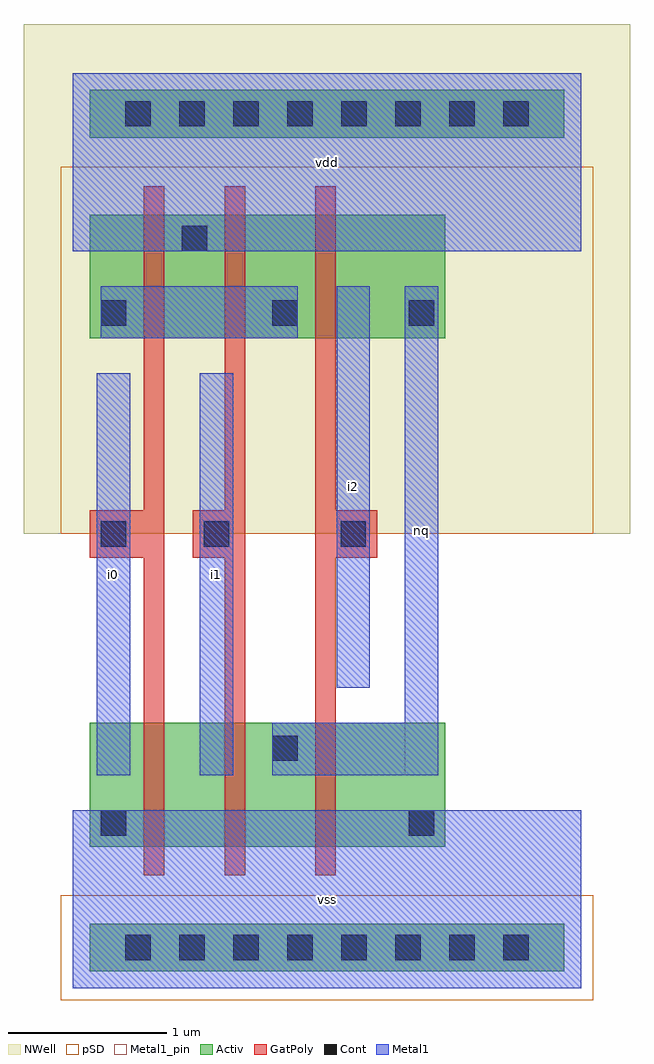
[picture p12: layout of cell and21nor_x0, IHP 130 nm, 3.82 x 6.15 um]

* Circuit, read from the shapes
.subckt and21nor_x0 i0 i1 i2 nq vdd vss
XM1 n1 i0 vss vss sg13_lv_nmos w=0.78u l=0.13u
XM2 nq i1 n1 vss sg13_lv_nmos w=0.78u l=0.13u
XM3 vss i2 nq vss sg13_lv_nmos w=0.78u l=0.13u
XM4 vdd i0 n2 vdd sg13_lv_pmos w=0.78u l=0.13u
XM5 n2 i1 vdd vdd sg13_lv_pmos w=0.78u l=0.13u
XM6 nq i2 n2 vdd sg13_lv_pmos w=0.78u l=0.13u
.ends

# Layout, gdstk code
import gdstk
lib = gdstk.Library(unit=1e-6, precision=1e-09)
def R(c, l, rs):  # rectangles x0, y0, x1, y1
    for r in rs: c.add(gdstk.rectangle(r[:2], r[2:], *l))
def P(c, l, *ps):  # polygons
    for p in ps: c.add(gdstk.Polygon(p, *l))
Activ = (1, 0)
GatPoly = (5, 0)
Cont = (6, 0)
Metal1 = (8, 0)
Metal1_pin = (8, 2)
pSD = (14, 0)
NWell = (31, 0)

and21nor_x0 = lib.new_cell('and21nor_x0')
P(and21nor_x0, Activ, [(0.215,4.09),(0.215,4.87),(0.445,4.87),(0.445,4.09),(0.215,4.09)],
  [(0.105,4.09),(0.105,4.87),(0.405,4.87),(0.405,4.09),(0.105,4.09)],
  [(1.185,4.09),(1.185,4.87),(1.485,4.87),(1.485,4.09),(1.185,4.09)],
  [(1.295,4.09),(1.295,4.87),(1.525,4.87),(1.525,4.09),(1.295,4.09)],
  [(1.155,4.09),(1.155,4.87),(1.455,4.87),(1.455,4.09),(1.155,4.09)],
  [(0.105,4.09),(0.105,4.87),(0.375,4.87),(0.375,4.09),(0.105,4.09)],
  [(0.105,4.1),(0.105,4.4),(0.405,4.4),(0.405,4.1),(0.105,4.1)],
  [(1.185,4.1),(1.185,4.4),(1.485,4.4),(1.485,4.1),(1.185,4.1)],
  [(1.085,4.09),(1.085,4.87),(1.315,4.87),(1.315,4.09),(1.085,4.09)],
  [(0.575,0.89),(0.575,1.67),(0.805,1.67),(0.805,0.89),(0.575,0.89)],
  [(0.725,0.89),(0.725,1.67),(0.955,1.67),(0.955,0.89),(0.725,0.89)],
  [(0.58,0.89),(0.58,1.67),(0.95,1.67),(0.95,0.89),(0.58,0.89)],
  [(0.645,0.89),(0.645,1.67),(0.885,1.67),(0.885,0.89),(0.645,0.89)],
  [(0.105,0.89),(0.105,1.19),(0.405,1.19),(0.405,0.89),(0.105,0.89)],
  [(0.105,0.105),(0.105,0.405),(3.095,0.405),(3.095,0.105),(0.105,0.105)],
  [(0.105,0.89),(0.105,1.67),(0.405,1.67),(0.405,0.89),(0.105,0.89)],
  [(2.045,0.89),(2.045,1.67),(2.345,1.67),(2.345,0.89),(2.045,0.89)],
  [(1.525,0.89),(1.525,1.67),(1.655,1.67),(1.655,0.89),(1.525,0.89)],
  [(0.26,0.105),(0.26,0.405),(2.94,0.405),(2.94,0.105),(0.26,0.105)],
  [(0.105,0.89),(0.105,1.67),(0.375,1.67),(0.375,0.89),(0.105,0.89)],
  [(0.215,0.89),(0.215,1.67),(0.445,1.67),(0.445,0.89),(0.215,0.89)],
  [(0.955,0.89),(0.955,1.67),(1.085,1.67),(1.085,0.89),(0.955,0.89)],
  [(0.445,0.89),(0.445,1.67),(0.575,1.67),(0.575,0.89),(0.445,0.89)],
  [(1.655,0.89),(1.655,1.67),(1.885,1.67),(1.885,0.89),(1.655,0.89)],
  [(2.045,0.89),(2.045,1.19),(2.345,1.19),(2.345,0.89),(2.045,0.89)],
  [(1.725,0.89),(1.725,1.67),(2.345,1.67),(2.345,0.89),(1.725,0.89)],
  [(0.725,4.09),(0.725,4.87),(0.955,4.87),(0.955,4.09),(0.725,4.09)],
  [(0.955,4.09),(0.955,4.87),(1.085,4.87),(1.085,4.09),(0.955,4.09)],
  [(0.615,4.09),(0.615,4.87),(0.915,4.87),(0.915,4.09),(0.615,4.09)],
  [(0.645,4.09),(0.645,4.87),(0.885,4.87),(0.885,4.09),(0.645,4.09)],
  [(0.445,4.09),(0.445,4.87),(0.575,4.87),(0.575,4.09),(0.445,4.09)],
  [(0.575,4.09),(0.575,4.87),(0.805,4.87),(0.805,4.09),(0.575,4.09)],
  [(0.105,5.355),(0.105,5.655),(3.095,5.655),(3.095,5.355),(0.105,5.355)],
  [(1.525,4.09),(1.525,4.87),(1.655,4.87),(1.655,4.09),(1.525,4.09)],
  [(0.26,5.355),(0.26,5.655),(2.94,5.655),(2.94,5.355),(0.26,5.355)],
  [(0.615,4.57),(0.615,4.87),(0.915,4.87),(0.915,4.57),(0.615,4.57)],
  [(1.155,0.89),(1.155,1.67),(1.455,1.67),(1.455,0.89),(1.155,0.89)],
  [(1.295,0.89),(1.295,1.67),(1.525,1.67),(1.525,0.89),(1.295,0.89)],
  [(2.045,4.1),(2.045,4.4),(2.345,4.4),(2.345,4.1),(2.045,4.1)],
  [(1.085,0.89),(1.085,1.67),(1.315,1.67),(1.315,0.89),(1.085,0.89)],
  [(1.185,1.36),(1.185,1.66),(1.485,1.66),(1.485,1.36),(1.185,1.36)],
  [(1.725,4.09),(1.725,4.87),(2.345,4.87),(2.345,4.09),(1.725,4.09)],
  [(2.045,4.09),(2.045,4.87),(2.345,4.87),(2.345,4.09),(2.045,4.09)],
  [(1.185,0.89),(1.185,1.67),(1.485,1.67),(1.485,0.89),(1.185,0.89)],
  [(1.655,4.09),(1.655,4.87),(1.885,4.87),(1.885,4.09),(1.655,4.09)])
P(and21nor_x0, GatPoly, [(1.525,3.91),(1.525,5.05),(1.655,5.05),(1.655,3.91),(1.525,3.91)],
  [(1.525,0.71),(1.525,3.91),(1.655,3.91),(1.655,0.71),(1.525,0.71)],
  [(1.59,2.71),(1.59,3.01),(1.765,3.01),(1.765,2.71),(1.59,2.71)],
  [(1.615,2.71),(1.615,3.01),(1.915,3.01),(1.915,2.71),(1.615,2.71)],
  [(1.525,0.71),(1.525,1.85),(1.655,1.85),(1.655,0.71),(1.525,0.71)],
  [(0.955,0.71),(0.955,1.85),(1.085,1.85),(1.085,0.71),(0.955,0.71)],
  [(0.905,2.71),(0.905,3.01),(1.02,3.01),(1.02,2.71),(0.905,2.71)],
  [(0.955,0.71),(0.955,3.91),(1.085,3.91),(1.085,0.71),(0.955,0.71)],
  [(0.955,3.91),(0.955,5.05),(1.085,5.05),(1.085,3.91),(0.955,3.91)],
  [(0.755,2.71),(0.755,3.01),(1.055,3.01),(1.055,2.71),(0.755,2.71)],
  [(0.445,0.71),(0.445,3.91),(0.575,3.91),(0.575,0.71),(0.445,0.71)],
  [(0.255,2.71),(0.255,3.01),(0.51,3.01),(0.51,2.71),(0.255,2.71)],
  [(0.445,0.71),(0.445,1.85),(0.575,1.85),(0.575,0.71),(0.445,0.71)],
  [(0.105,2.71),(0.105,3.01),(0.405,3.01),(0.405,2.71),(0.105,2.71)],
  [(0.445,3.91),(0.445,5.05),(0.575,5.05),(0.575,3.91),(0.445,3.91)])
P(and21nor_x0, Cont, [(0.175,4.17),(0.175,4.33),(0.335,4.33),(0.335,4.17),(0.175,4.17)],
  [(1.255,4.17),(1.255,4.33),(1.415,4.33),(1.415,4.17),(1.255,4.17)],
  [(2.115,0.96),(2.115,1.12),(2.275,1.12),(2.275,0.96),(2.115,0.96)],
  [(2.71,0.175),(2.71,0.335),(2.87,0.335),(2.87,0.175),(2.71,0.175)],
  [(0.175,0.96),(0.175,1.12),(0.335,1.12),(0.335,0.96),(0.175,0.96)],
  [(0.33,0.175),(0.33,0.335),(0.49,0.335),(0.49,0.175),(0.33,0.175)],
  [(0.67,0.175),(0.67,0.335),(0.83,0.335),(0.83,0.175),(0.67,0.175)],
  [(1.01,0.175),(1.01,0.335),(1.17,0.335),(1.17,0.175),(1.01,0.175)],
  [(1.35,0.175),(1.35,0.335),(1.51,0.335),(1.51,0.175),(1.35,0.175)],
  [(1.69,0.175),(1.69,0.335),(1.85,0.335),(1.85,0.175),(1.69,0.175)],
  [(2.03,0.175),(2.03,0.335),(2.19,0.335),(2.19,0.175),(2.03,0.175)],
  [(2.37,0.175),(2.37,0.335),(2.53,0.335),(2.53,0.175),(2.37,0.175)],
  [(0.685,4.64),(0.685,4.8),(0.845,4.8),(0.845,4.64),(0.685,4.64)],
  [(0.33,5.425),(0.33,5.585),(0.49,5.585),(0.49,5.425),(0.33,5.425)],
  [(0.67,5.425),(0.67,5.585),(0.83,5.585),(0.83,5.425),(0.67,5.425)],
  [(1.01,5.425),(1.01,5.585),(1.17,5.585),(1.17,5.425),(1.01,5.425)],
  [(1.35,5.425),(1.35,5.585),(1.51,5.585),(1.51,5.425),(1.35,5.425)],
  [(1.69,5.425),(1.69,5.585),(1.85,5.585),(1.85,5.425),(1.69,5.425)],
  [(2.03,5.425),(2.03,5.585),(2.19,5.585),(2.19,5.425),(2.03,5.425)],
  [(2.37,5.425),(2.37,5.585),(2.53,5.585),(2.53,5.425),(2.37,5.425)],
  [(2.71,5.425),(2.71,5.585),(2.87,5.585),(2.87,5.425),(2.71,5.425)],
  [(1.255,1.43),(1.255,1.59),(1.415,1.59),(1.415,1.43),(1.255,1.43)],
  [(2.115,4.17),(2.115,4.33),(2.275,4.33),(2.275,4.17),(2.115,4.17)],
  [(1.685,2.78),(1.685,2.94),(1.845,2.94),(1.845,2.78),(1.685,2.78)],
  [(0.825,2.78),(0.825,2.94),(0.985,2.94),(0.985,2.78),(0.825,2.78)],
  [(0.175,2.78),(0.175,2.94),(0.335,2.94),(0.335,2.78),(0.175,2.78)])
R(and21nor_x0, Metal1, [(0,0,3.2,1.12), (0.15,1.34,0.36,3.87), (0.8,1.34,1.01,3.87), (2.09,1.34,2.3,4.42), (1.66,1.89,1.87,4.42), (0,4.64,3.2,5.76)])
P(and21nor_x0, Metal1, [(0.175,4.09),(0.175,4.41),(0.335,4.41),(0.335,4.09),(0.175,4.09)],
  [(0.175,4.09),(0.175,4.42),(0.335,4.42),(0.335,4.09),(0.175,4.09)],
  [(1.255,4.09),(1.255,4.41),(1.415,4.41),(1.415,4.09),(1.255,4.09)],
  [(1.255,4.09),(1.255,4.42),(1.415,4.42),(1.415,4.09),(1.255,4.09)],
  [(0.255,4.09),(0.255,4.42),(1.335,4.42),(1.335,4.09),(0.255,4.09)],
  [(0.33,0.095),(0.33,0.415),(2.87,0.415),(2.87,0.095),(0.33,0.095)],
  [(0,0),(0,1.12),(3.2,1.12),(3.2,0),(0,0)],
  [(0.095,0.96),(0.095,1.12),(0.415,1.12),(0.415,0.96),(0.095,0.96)],
  [(2.035,0.96),(2.035,1.12),(2.355,1.12),(2.355,0.96),(2.035,0.96)],
  [(0.605,4.64),(0.605,4.8),(0.925,4.8),(0.925,4.64),(0.605,4.64)],
  [(0.33,5.345),(0.33,5.665),(2.87,5.665),(2.87,5.345),(0.33,5.345)],
  [(0,4.64),(0,5.76),(3.2,5.76),(3.2,4.64),(0,4.64)],
  [(2.115,4.09),(2.115,4.42),(2.275,4.42),(2.275,4.09),(2.115,4.09)],
  [(2.09,1.34),(2.09,4.42),(2.3,4.42),(2.3,1.34),(2.09,1.34)],
  [(1.335,1.34),(1.335,1.67),(2.195,1.67),(2.195,1.34),(1.335,1.34)],
  [(1.255,1.34),(1.255,1.67),(1.415,1.67),(1.415,1.34),(1.255,1.34)],
  [(1.255,1.35),(1.255,1.67),(1.415,1.67),(1.415,1.35),(1.255,1.35)],
  [(2.09,1.35),(2.09,1.67),(2.3,1.67),(2.3,1.35),(2.09,1.35)],
  [(2.115,4.09),(2.115,4.41),(2.275,4.41),(2.275,4.09),(2.115,4.09)],
  [(1.685,2.7),(1.685,3.02),(1.845,3.02),(1.845,2.7),(1.685,2.7)],
  [(1.66,1.89),(1.66,4.42),(1.87,4.42),(1.87,1.89),(1.66,1.89)],
  [(0.8,1.34),(0.8,3.87),(1.01,3.87),(1.01,1.34),(0.8,1.34)],
  [(0.825,2.7),(0.825,3.02),(0.985,3.02),(0.985,2.7),(0.825,2.7)],
  [(0.175,2.7),(0.175,3.02),(0.335,3.02),(0.335,2.7),(0.175,2.7)],
  [(0.15,1.34),(0.15,3.87),(0.36,3.87),(0.36,1.34),(0.15,1.34)])
R(and21nor_x0, Metal1_pin, [(0,0,3.2,1.12), (0,0,3.2,1.12), (0.15,1.34,0.36,3.87), (0.15,1.34,0.36,3.87), (0.8,1.34,1.01,3.87), (0.8,1.34,1.01,3.87), (2.09,1.34,2.3,4.42), (2.09,1.34,2.3,4.42), (1.66,1.89,1.87,4.42), (1.66,1.89,1.87,4.42), (0,4.64,3.2,5.76), (0,4.64,3.2,5.76)])
P(and21nor_x0, pSD, [(0.435,4.27),(0.435,5.17),(1.095,5.17),(1.095,4.27),(0.435,4.27)],
  [(0.545,3.91),(0.545,5.05),(1.495,5.05),(1.495,3.91),(0.545,3.91)],
  [(1.225,3.79),(1.225,5.17),(1.955,5.17),(1.955,3.79),(1.225,3.79)],
  [(1.115,3.91),(1.115,5.05),(2.065,5.05),(2.065,3.91),(1.115,3.91)],
  [(-0.075,-0.075),(-0.075,0.585),(3.275,0.585),(3.275,-0.075),(-0.075,-0.075)],
  [(-0.075,3.79),(-0.075,5.17),(0.555,5.17),(0.555,3.79),(-0.075,3.79)],
  [(-0.075,3.8),(-0.075,4.7),(0.585,4.7),(0.585,3.8),(-0.075,3.8)],
  [(-0.075,3.79),(-0.075,5.17),(0.585,5.17),(0.585,3.79),(-0.075,3.79)],
  [(1.545,3.79),(1.545,5.17),(2.525,5.17),(2.525,3.79),(1.545,3.79)],
  [(0.655,3.79),(0.655,5.17),(1.385,5.17),(1.385,3.79),(0.655,3.79)],
  [(0.435,3.79),(0.435,5.17),(1.095,5.17),(1.095,3.79),(0.435,3.79)],
  [(1.865,3.8),(1.865,4.7),(2.525,4.7),(2.525,3.8),(1.865,3.8)],
  [(0.975,3.79),(0.975,5.17),(1.635,5.17),(1.635,3.79),(0.975,3.79)],
  [(0.08,-0.075),(0.08,0.585),(3.12,0.585),(3.12,-0.075),(0.08,-0.075)],
  [(0.035,3.91),(0.035,5.05),(0.985,5.05),(0.985,3.91),(0.035,3.91)],
  [(0.145,3.79),(0.145,5.17),(0.875,5.17),(0.875,3.79),(0.145,3.79)],
  [(0.465,3.79),(0.465,5.17),(1.065,5.17),(1.065,3.79),(0.465,3.79)],
  [(1.005,3.79),(1.005,5.17),(1.665,5.17),(1.665,3.79),(1.005,3.79)],
  [(-0.075,2.86),(-0.075,5.17),(3.275,5.17),(3.275,2.86),(-0.075,2.86)],
  [(1.865,3.79),(1.865,5.17),(2.525,5.17),(2.525,3.79),(1.865,3.79)],
  [(1.005,3.8),(1.005,4.7),(1.665,4.7),(1.665,3.8),(1.005,3.8)])
P(and21nor_x0, NWell, [(1.735,3.79),(1.735,4.71),(2.655,4.71),(2.655,3.79),(1.735,3.79)],
  [(-0.205,3.78),(-0.205,5.18),(0.715,5.18),(0.715,3.78),(-0.205,3.78)],
  [(0.875,3.79),(0.875,4.71),(1.795,4.71),(1.795,3.79),(0.875,3.79)],
  [(1.735,3.78),(1.735,5.18),(2.655,5.18),(2.655,3.78),(1.735,3.78)],
  [(0.875,3.78),(0.875,5.18),(1.795,5.18),(1.795,3.78),(0.875,3.78)],
  [(-0.095,3.78),(-0.095,5.18),(1.115,5.18),(1.115,3.78),(-0.095,3.78)],
  [(0.985,3.78),(0.985,5.18),(2.195,5.18),(2.195,3.78),(0.985,3.78)],
  [(-0.205,5.045),(-0.205,5.965),(3.405,5.965),(3.405,5.045),(-0.205,5.045)],
  [(0.845,3.78),(0.845,5.18),(1.765,5.18),(1.765,3.78),(0.845,3.78)],
  [(-0.205,3.78),(-0.205,5.18),(0.685,5.18),(0.685,3.78),(-0.205,3.78)],
  [(0.305,3.78),(0.305,5.18),(1.225,5.18),(1.225,3.78),(0.305,3.78)],
  [(0.415,3.78),(0.415,5.18),(1.625,5.18),(1.625,3.78),(0.415,3.78)],
  [(-0.205,3.79),(-0.205,4.71),(0.715,4.71),(0.715,3.79),(-0.205,3.79)],
  [(0.335,3.78),(0.335,5.18),(1.195,5.18),(1.195,3.78),(0.335,3.78)],
  [(-0.05,5.045),(-0.05,5.965),(3.25,5.965),(3.25,5.045),(-0.05,5.045)],
  [(-0.31,2.86),(-0.31,6.07),(3.51,6.07),(3.51,2.86),(-0.31,2.86)],
  [(0.305,4.26),(0.305,5.18),(1.225,5.18),(1.225,4.26),(0.305,4.26)],
  [(1.415,3.78),(1.415,5.18),(2.655,5.18),(2.655,3.78),(1.415,3.78)])
and21nor_x0.add(gdstk.Label('vss', (1.6,0.56), layer=8, texttype=25))
and21nor_x0.add(gdstk.Label('vdd', (1.6,5.2), layer=8, texttype=25))
and21nor_x0.add(gdstk.Label('nq', (2.195,2.88), layer=8, texttype=25))
and21nor_x0.add(gdstk.Label('i2', (1.765,3.155), layer=8, texttype=25))
and21nor_x0.add(gdstk.Label('i1', (0.905,2.605), layer=8, texttype=25))
and21nor_x0.add(gdstk.Label('i0', (0.255,2.605), layer=8, texttype=25))

lib.write_gds('and21nor_x0.gds')
